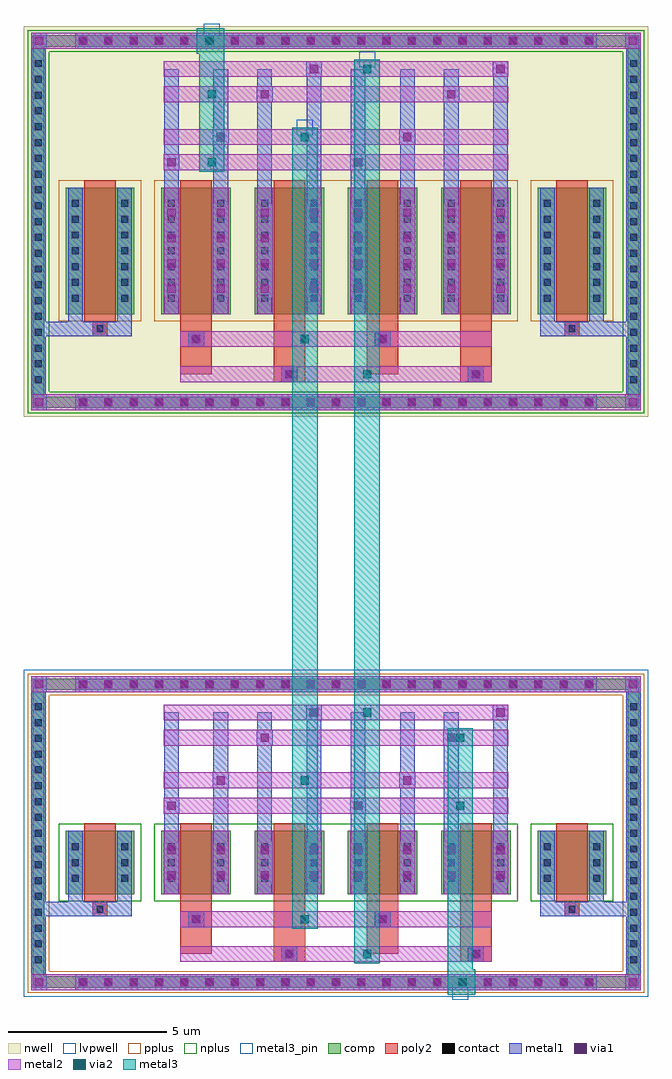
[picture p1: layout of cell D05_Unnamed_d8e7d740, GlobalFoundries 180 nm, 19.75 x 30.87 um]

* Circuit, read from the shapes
.subckt D05_Unnamed_d8e7d740 VSS
XM1 VSS VSS VSS VSS nfet_03v3 w=2u l=1u m=2
XM2 D05_Unnamed_5405d2ab_17/VMID1 D05_Unnamed_5405d2ab_17/VMID1 VSS VSS nfet_03v3 w=2u l=1u m=2
XM3 D05_Unnamed_a4d22786_18/VMID2 D05_Unnamed_a4d22786_18/VMID2 VSS VSS nfet_03v3 w=2u l=1u m=2
XM4 D05_Unnamed_14987a21_16/VRECT D05_Unnamed_14987a21_16/VRECT D05_Unnamed_14987a21_16/VRECT D05_Unnamed_14987a21_16/VRECT pfet_03v3 w=4u l=1u m=2
XM5 D05_Unnamed_5405d2ab_17/VMID1 D05_Unnamed_5405d2ab_17/VMID1 D05_Unnamed_14987a21_16/VRECT D05_Unnamed_14987a21_16/VRECT pfet_03v3 w=4u l=1u m=2
XM6 D05_Unnamed_a4d22786_18/VMID2 D05_Unnamed_a4d22786_18/VMID2 D05_Unnamed_14987a21_16/VRECT D05_Unnamed_14987a21_16/VRECT pfet_03v3 w=4u l=1u m=2
.ends

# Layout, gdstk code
import gdstk
lib = gdstk.Library(unit=1e-6, precision=5e-09)
def R(c, l, rs):  # rectangles x0, y0, x1, y1
    for r in rs: c.add(gdstk.rectangle(r[:2], r[2:], *l))
def A(c, l, x, y, w, h, nx, ny, dx, dy):  # array of equal rectangles
    R(c, l, [(x+i*dx, y+j*dy, x+i*dx+w, y+j*dy+h) for i in range(nx) for j in range(ny)])
def P(c, l, *ps):  # polygons
    for p in ps: c.add(gdstk.Polygon(p, *l))
nwell = (21, 0)
comp = (22, 0)
poly2 = (30, 0)
pplus = (31, 0)
nplus = (32, 0)
contact = (33, 0)
metal1 = (34, 0)
via1 = (35, 0)
metal2 = (36, 0)
via2 = (38, 0)
metal3 = (42, 0)
metal3_pin = (42, 10)
lvpwell = (204, 0)

d05_unnamed_223b26ec_1 = lib.new_cell('D05_Unnamed_223b26ec_1')
R(d05_unnamed_223b26ec_1, nwell, [(-9.715,-6.015,9.715,6.015)])
A(d05_unnamed_223b26ec_1, comp, -8.18, -5.895, 0.36, 0.36, 21, 2, 0.8, 11.43)
A(d05_unnamed_223b26ec_1, comp, -9.595, -5.18, 0.36, 0.36, 1, 21, 0, 0.5)
A(d05_unnamed_223b26ec_1, comp, 9.235, -5.18, 0.36, 0.36, 1, 21, 0, 0.5)
R(d05_unnamed_223b26ec_1, comp, [(-8.18,-5.895,8.18,-5.535), (-9.595,-5.18,-9.235,5.18), (9.235,-5.18,9.595,5.18), (-8.18,5.535,8.18,5.895)])
P(d05_unnamed_223b26ec_1, comp, [(-9.595,-5.895),(-9.595,-5.535),(-9.235,-5.535),(9.235,-5.535),(9.235,5.535),(-9.235,5.535),(-9.235,-5.535),(-9.595,-5.535),(-9.595,5.895),(9.595,5.895),(9.595,-5.895)])
P(d05_unnamed_223b26ec_1, nplus, [(-9.755,-6.055),(-9.755,-5.375),(-9.075,-5.375),(9.075,-5.375),(9.075,5.375),(-9.075,5.375),(-9.075,-5.375),(-9.755,-5.375),(-9.755,6.055),(9.755,6.055),(9.755,-6.055)])
A(d05_unnamed_223b26ec_1, contact, -8.11, -5.825, 0.22, 0.22, 21, 2, 0.8, 11.43)
A(d05_unnamed_223b26ec_1, contact, -9.525, -5.11, 0.22, 0.22, 1, 21, 0, 0.5)
A(d05_unnamed_223b26ec_1, contact, 9.305, -5.11, 0.22, 0.22, 1, 21, 0, 0.5)
A(d05_unnamed_223b26ec_1, metal1, -8.25, -5.965, 0.5, 0.5, 21, 2, 0.8, 11.43)
A(d05_unnamed_223b26ec_1, metal1, -9.645, -5.23, 0.46, 0.46, 1, 21, 0, 0.5)
A(d05_unnamed_223b26ec_1, metal1, 9.185, -5.23, 0.46, 0.46, 1, 21, 0, 0.5)
R(d05_unnamed_223b26ec_1, metal1, [(-9.645,-5.965,-9.145,-5.465), (-9.645,-5.965,-9.145,-5.465), (-9.645,-5.965,-9.185,-5.535), (-8.25,-5.965,8.25,-5.465), (9.145,-5.965,9.645,-5.465), (9.145,-5.965,9.645,-5.465), (9.185,-5.965,9.645,-5.535), (-9.645,-5.535,-9.185,5.535), (9.185,-5.535,9.645,5.535), (-9.645,5.465,-9.145,5.965), (-9.645,5.465,-9.145,5.965), (-8.25,5.465,8.25,5.965), (9.145,5.465,9.645,5.965), (9.145,5.465,9.645,5.965), (-9.645,5.535,-9.185,5.965), (9.185,5.535,9.645,5.965)])
A(d05_unnamed_223b26ec_1, via1, -8.13, -5.845, 0.26, 0.26, 21, 2, 0.8, 11.43)
R(d05_unnamed_223b26ec_1, via1, [(-9.525,-5.845,-9.265,-5.585), (9.265,-5.845,9.525,-5.585), (-9.525,5.585,-9.265,5.845), (9.265,5.585,9.525,5.845)])
A(d05_unnamed_223b26ec_1, metal2, -8.25, -5.965, 0.5, 0.5, 21, 2, 0.8, 11.43)
R(d05_unnamed_223b26ec_1, metal2, [(-9.645,-5.965,-9.235,-5.465), (-9.645,-5.965,-9.145,-5.465), (-9.645,-5.965,-9.145,-5.465), (-9.235,-5.965,9.235,-5.465), (9.145,-5.965,9.645,-5.465), (9.145,-5.965,9.645,-5.465), (9.235,-5.965,9.645,-5.465), (-9.645,5.465,-9.235,5.965), (-9.645,5.465,-9.145,5.965), (-9.645,5.465,-9.145,5.965), (-9.235,5.465,9.235,5.965), (9.145,5.465,9.645,5.965), (9.145,5.465,9.645,5.965), (9.235,5.465,9.645,5.965)])

d05_straight_route_3339a = lib.new_cell('D05_straight_route_3339a8e1_1')
R(d05_straight_route_3339a, metal1, [(-9.645,-3.625,-7.695,-3.165)])

d05_straight_route_3d233 = lib.new_cell('D05_straight_route_3d233bda_1')
R(d05_straight_route_3d233, metal1, [(7.695,-3.625,9.645,-3.165)])

d05_transformed_4b4a1f64 = lib.new_cell('D05_transformed_4b4a1f64')
R(d05_transformed_4b4a1f64, nwell, [(-9.875,-6.175,9.875,6.175)])
A(d05_transformed_4b4a1f64, comp, -5.525, -2.925, 2.2, 4, 4, 1, 2.95, 0)
R(d05_transformed_4b4a1f64, comp, [(-8.545,-2.925,-6.385,1.075), (6.385,-2.925,8.545,1.075)])
A(d05_transformed_4b4a1f64, poly2, -4.925, -3.165, 1, 4.48, 4, 1, 2.95, 0)
R(d05_transformed_4b4a1f64, poly2, [(-1.975,-5.075,-0.975,-4.575), (3.925,-5.075,4.925,-4.575), (-1.655,-5.005,-1.295,-4.645), (4.245,-5.005,4.605,-4.645), (-4.925,-4.825,-3.925,-3.165), (0.975,-4.825,1.975,-3.165), (-1.975,-4.575,-0.975,-3.165), (3.925,-4.575,4.925,-3.165), (-4.925,-3.965,-3.925,-3.465), (0.975,-3.965,1.975,-3.465), (-4.605,-3.895,-4.245,-3.535), (1.295,-3.895,1.655,-3.535), (-7.695,-3.625,-7.235,-3.165), (7.235,-3.625,7.695,-3.165), (-7.645,-3.575,-7.285,-3.215), (7.285,-3.575,7.645,-3.215), (-4.925,-3.465,-3.925,-3.165), (0.975,-3.465,1.975,-3.165), (-7.965,-3.165,-6.965,1.315), (6.965,-3.165,7.965,1.315)])
A(d05_transformed_4b4a1f64, pplus, -5.755, -3.155, 2.66, 4.46, 4, 1, 2.95, 0)
R(d05_transformed_4b4a1f64, pplus, [(-8.775,-3.155,-6.155,1.305), (-5.755,-3.155,5.755,1.305), (6.155,-3.155,8.775,1.305)])
A(d05_transformed_4b4a1f64, contact, -8.355, -2.535, 0.22, 0.22, 1, 7, 0, 0.5)
A(d05_transformed_4b4a1f64, contact, -6.795, -2.535, 0.22, 0.22, 1, 7, 0, 0.5)
A(d05_transformed_4b4a1f64, contact, -5.315, -2.535, 0.22, 0.22, 1, 7, 0, 0.5)
A(d05_transformed_4b4a1f64, contact, -3.755, -2.535, 0.22, 0.22, 1, 7, 0, 0.5)
A(d05_transformed_4b4a1f64, contact, -2.365, -2.535, 0.22, 0.22, 1, 7, 0, 0.5)
A(d05_transformed_4b4a1f64, contact, -0.805, -2.535, 0.22, 0.22, 1, 7, 0, 0.5)
A(d05_transformed_4b4a1f64, contact, 0.585, -2.535, 0.22, 0.22, 1, 7, 0, 0.5)
A(d05_transformed_4b4a1f64, contact, 2.145, -2.535, 0.22, 0.22, 1, 7, 0, 0.5)
A(d05_transformed_4b4a1f64, contact, 3.535, -2.535, 0.22, 0.22, 1, 7, 0, 0.5)
A(d05_transformed_4b4a1f64, contact, 5.095, -2.535, 0.22, 0.22, 1, 7, 0, 0.5)
A(d05_transformed_4b4a1f64, contact, 6.575, -2.535, 0.22, 0.22, 1, 7, 0, 0.5)
A(d05_transformed_4b4a1f64, contact, 8.135, -2.535, 0.22, 0.22, 1, 7, 0, 0.5)
R(d05_transformed_4b4a1f64, contact, [(-1.585,-4.935,-1.365,-4.715), (4.315,-4.935,4.535,-4.715), (-4.535,-3.825,-4.315,-3.605), (1.365,-3.825,1.585,-3.605), (-7.575,-3.505,-7.355,-3.285), (7.355,-3.505,7.575,-3.285)])
A(d05_transformed_4b4a1f64, metal1, -8.475, -2.655, 0.46, 0.46, 1, 7, 0, 0.5)
A(d05_transformed_4b4a1f64, metal1, -6.915, -2.655, 0.46, 0.46, 1, 7, 0, 0.5)
A(d05_transformed_4b4a1f64, metal1, -5.435, -2.655, 0.46, 0.46, 1, 7, 0, 0.5)
A(d05_transformed_4b4a1f64, metal1, -3.875, -2.655, 0.46, 0.46, 1, 7, 0, 0.5)
A(d05_transformed_4b4a1f64, metal1, -2.485, -2.655, 0.46, 0.46, 1, 7, 0, 0.5)
A(d05_transformed_4b4a1f64, metal1, -0.925, -2.655, 0.46, 0.46, 1, 7, 0, 0.5)
A(d05_transformed_4b4a1f64, metal1, 0.465, -2.655, 0.46, 0.46, 1, 7, 0, 0.5)
A(d05_transformed_4b4a1f64, metal1, 2.025, -2.655, 0.46, 0.46, 1, 7, 0, 0.5)
A(d05_transformed_4b4a1f64, metal1, 3.415, -2.655, 0.46, 0.46, 1, 7, 0, 0.5)
A(d05_transformed_4b4a1f64, metal1, 4.975, -2.655, 0.46, 0.46, 1, 7, 0, 0.5)
A(d05_transformed_4b4a1f64, metal1, 6.455, -2.655, 0.46, 0.46, 1, 7, 0, 0.5)
A(d05_transformed_4b4a1f64, metal1, 8.015, -2.655, 0.46, 0.46, 1, 7, 0, 0.5)
A(d05_transformed_4b4a1f64, metal1, -5.455, -2.375, 0.5, 0.5, 1, 4, 0, 0.8)
A(d05_transformed_4b4a1f64, metal1, -3.895, -2.375, 0.5, 0.5, 1, 4, 0, 0.8)
A(d05_transformed_4b4a1f64, metal1, -2.505, -2.375, 0.5, 0.5, 1, 4, 0, 0.8)
A(d05_transformed_4b4a1f64, metal1, -0.945, -2.375, 0.5, 0.5, 1, 4, 0, 0.8)
A(d05_transformed_4b4a1f64, metal1, 0.445, -2.375, 0.5, 0.5, 1, 4, 0, 0.8)
A(d05_transformed_4b4a1f64, metal1, 2.005, -2.375, 0.5, 0.5, 1, 4, 0, 0.8)
A(d05_transformed_4b4a1f64, metal1, 3.395, -2.375, 0.5, 0.5, 1, 4, 0, 0.8)
A(d05_transformed_4b4a1f64, metal1, 4.955, -2.375, 0.5, 0.5, 1, 4, 0, 0.8)
R(d05_transformed_4b4a1f64, metal1, [(-1.725,-5.075,-1.225,-4.575), (4.175,-5.075,4.675,-4.575), (-4.675,-3.965,-4.175,-3.465), (1.225,-3.965,1.725,-3.465), (-8.475,-3.625,-7.695,-3.165), (-8.475,-3.625,-8.015,-2.925), (-7.695,-3.625,-7.235,-3.165), (-7.235,-3.625,-6.455,-3.165), (-6.915,-3.625,-6.455,-2.925), (6.455,-3.625,7.235,-3.165), (6.455,-3.625,6.915,-2.925), (7.235,-3.625,7.695,-3.165), (7.695,-3.625,8.475,-3.165), (8.015,-3.625,8.475,-2.925), (-8.475,-2.925,-8.015,1.075), (-6.915,-2.925,-6.455,1.075), (-5.435,-2.925,-4.975,1.075), (-3.875,-2.925,-3.415,1.075), (-2.485,-2.925,-2.025,1.075), (-0.925,-2.925,-0.465,1.075), (0.465,-2.925,0.925,1.075), (2.025,-2.925,2.485,1.075), (3.415,-2.925,3.875,1.075), (4.975,-2.925,5.435,1.075), (6.455,-2.925,6.915,1.075), (8.015,-2.925,8.475,1.075), (-5.455,-2.375,-4.955,0.525), (-3.895,-2.375,-3.395,0.525), (-2.505,-2.375,-2.005,0.525), (-0.945,-2.375,-0.445,0.525), (0.445,-2.375,0.945,0.525), (2.005,-2.375,2.505,0.525), (3.395,-2.375,3.895,0.525), (4.955,-2.375,5.455,0.525), (-5.435,1.075,-4.975,2.125), (-5.435,1.075,-4.975,4.825), (-3.875,1.075,-3.415,2.925), (-3.875,1.075,-3.415,4.825), (-2.485,1.075,-2.025,4.275), (-2.485,1.075,-2.025,4.825), (-0.925,1.075,-0.465,5.075), (-0.925,1.075,-0.465,4.825), (0.465,1.075,0.925,2.125), (0.465,1.075,0.925,4.825), (2.025,1.075,2.485,2.925), (2.025,1.075,2.485,4.825), (3.415,1.075,3.875,4.275), (3.415,1.075,3.875,4.825), (4.975,1.075,5.435,5.075), (4.975,1.075,5.435,4.825), (-5.455,1.625,-4.955,2.125), (0.445,1.625,0.945,2.125), (-3.895,2.425,-3.395,2.925), (2.005,2.425,2.505,2.925), (-2.505,3.775,-2.005,4.275), (3.395,3.775,3.895,4.275), (-0.945,4.575,-0.445,5.075), (4.955,4.575,5.455,5.075)])
A(d05_transformed_4b4a1f64, via1, -5.335, -2.255, 0.26, 0.26, 1, 4, 0, 0.8)
A(d05_transformed_4b4a1f64, via1, -3.775, -2.255, 0.26, 0.26, 1, 4, 0, 0.8)
A(d05_transformed_4b4a1f64, via1, -2.385, -2.255, 0.26, 0.26, 1, 4, 0, 0.8)
A(d05_transformed_4b4a1f64, via1, -0.825, -2.255, 0.26, 0.26, 1, 4, 0, 0.8)
A(d05_transformed_4b4a1f64, via1, 0.565, -2.255, 0.26, 0.26, 1, 4, 0, 0.8)
A(d05_transformed_4b4a1f64, via1, 2.125, -2.255, 0.26, 0.26, 1, 4, 0, 0.8)
A(d05_transformed_4b4a1f64, via1, 3.515, -2.255, 0.26, 0.26, 1, 4, 0, 0.8)
A(d05_transformed_4b4a1f64, via1, 5.075, -2.255, 0.26, 0.26, 1, 4, 0, 0.8)
R(d05_transformed_4b4a1f64, via1, [(-1.605,-4.955,-1.345,-4.695), (4.295,-4.955,4.555,-4.695), (-4.555,-3.845,-4.295,-3.585), (1.345,-3.845,1.605,-3.585), (-5.335,1.745,-5.075,2.005), (0.565,1.745,0.825,2.005), (-3.775,2.545,-3.515,2.805), (2.125,2.545,2.385,2.805), (-2.385,3.895,-2.125,4.155), (3.515,3.895,3.775,4.155), (-0.825,4.695,-0.565,4.955), (5.075,4.695,5.335,4.955)])
A(d05_transformed_4b4a1f64, metal2, -5.455, -2.375, 0.5, 0.5, 1, 4, 0, 0.8)
A(d05_transformed_4b4a1f64, metal2, -3.895, -2.375, 0.5, 0.5, 1, 4, 0, 0.8)
A(d05_transformed_4b4a1f64, metal2, -2.505, -2.375, 0.5, 0.5, 1, 4, 0, 0.8)
A(d05_transformed_4b4a1f64, metal2, -0.945, -2.375, 0.5, 0.5, 1, 4, 0, 0.8)
A(d05_transformed_4b4a1f64, metal2, 0.445, -2.375, 0.5, 0.5, 1, 4, 0, 0.8)
A(d05_transformed_4b4a1f64, metal2, 2.005, -2.375, 0.5, 0.5, 1, 4, 0, 0.8)
A(d05_transformed_4b4a1f64, metal2, 3.395, -2.375, 0.5, 0.5, 1, 4, 0, 0.8)
A(d05_transformed_4b4a1f64, metal2, 4.955, -2.375, 0.5, 0.5, 1, 4, 0, 0.8)
R(d05_transformed_4b4a1f64, metal2, [(-4.925,-5.075,4.925,-4.575), (-1.975,-5.075,-0.975,-4.575), (-1.725,-5.075,-1.225,-4.575), (3.925,-5.075,4.925,-4.575), (4.175,-5.075,4.675,-4.575), (-4.925,-3.965,-3.925,-3.465), (-4.925,-3.965,4.925,-3.465), (-4.675,-3.965,-4.175,-3.465), (0.975,-3.965,1.975,-3.465), (1.225,-3.965,1.725,-3.465), (-5.455,-2.925,-4.955,1.075), (-3.895,-2.925,-3.395,1.075), (-2.505,-2.925,-2.005,1.075), (-0.945,-2.925,-0.445,1.075), (0.445,-2.925,0.945,1.075), (2.005,-2.925,2.505,1.075), (3.395,-2.925,3.895,1.075), (4.955,-2.925,5.455,1.075), (-5.455,1.625,-4.955,2.125), (-5.455,1.625,-3.395,2.125), (-5.455,1.625,5.455,2.125), (0.445,1.625,0.945,2.125), (0.445,1.625,2.505,2.125), (-5.455,2.425,-3.395,2.925), (-5.455,2.425,5.455,2.925), (-3.895,2.425,-3.395,2.925), (0.445,2.425,2.505,2.925), (2.005,2.425,2.505,2.925), (-5.455,3.775,5.455,4.275), (-2.505,3.775,-2.005,4.275), (-2.505,3.775,-0.445,4.275), (3.395,3.775,3.895,4.275), (3.395,3.775,5.455,4.275), (-5.455,4.575,5.455,5.075), (-2.505,4.575,-0.445,5.075), (-0.945,4.575,-0.445,5.075), (3.395,4.575,5.455,5.075), (4.955,4.575,5.455,5.075)])
d05_transformed_4b4a1f64.add(gdstk.Reference(d05_unnamed_223b26ec_1, (0,0)))
d05_transformed_4b4a1f64.add(gdstk.Reference(d05_straight_route_3339a, (0,0)))
d05_transformed_4b4a1f64.add(gdstk.Reference(d05_straight_route_3d233, (0,0)))

d05_unnamed_4aa4a7d7_1 = lib.new_cell('D05_Unnamed_4aa4a7d7_1')
A(d05_unnamed_4aa4a7d7_1, comp, -8.18, -4.89, 0.36, 0.36, 21, 2, 0.8, 9.42)
A(d05_unnamed_4aa4a7d7_1, comp, -9.595, -4.18, 0.36, 0.36, 1, 17, 0, 0.5)
A(d05_unnamed_4aa4a7d7_1, comp, 9.235, -4.18, 0.36, 0.36, 1, 17, 0, 0.5)
R(d05_unnamed_4aa4a7d7_1, comp, [(-8.18,-4.89,8.18,-4.53), (-9.595,-4.18,-9.235,4.18), (9.235,-4.18,9.595,4.18), (-8.18,4.53,8.18,4.89)])
P(d05_unnamed_4aa4a7d7_1, comp, [(-9.595,-4.89),(-9.595,-4.53),(-9.235,-4.53),(9.235,-4.53),(9.235,4.53),(-9.235,4.53),(-9.235,-4.53),(-9.595,-4.53),(-9.595,4.89),(9.595,4.89),(9.595,-4.89)])
P(d05_unnamed_4aa4a7d7_1, pplus, [(-9.755,-5.05),(-9.755,-4.37),(-9.075,-4.37),(9.075,-4.37),(9.075,4.37),(-9.075,4.37),(-9.075,-4.37),(-9.755,-4.37),(-9.755,5.05),(9.755,5.05),(9.755,-5.05)])
A(d05_unnamed_4aa4a7d7_1, contact, -8.11, -4.82, 0.22, 0.22, 21, 2, 0.8, 9.42)
A(d05_unnamed_4aa4a7d7_1, contact, -9.525, -4.11, 0.22, 0.22, 1, 17, 0, 0.5)
A(d05_unnamed_4aa4a7d7_1, contact, 9.305, -4.11, 0.22, 0.22, 1, 17, 0, 0.5)
A(d05_unnamed_4aa4a7d7_1, metal1, -8.25, -4.96, 0.5, 0.5, 21, 2, 0.8, 9.42)
A(d05_unnamed_4aa4a7d7_1, metal1, -9.645, -4.23, 0.46, 0.46, 1, 17, 0, 0.5)
A(d05_unnamed_4aa4a7d7_1, metal1, 9.185, -4.23, 0.46, 0.46, 1, 17, 0, 0.5)
R(d05_unnamed_4aa4a7d7_1, metal1, [(-9.645,-4.96,-9.145,-4.46), (-9.645,-4.96,-9.145,-4.46), (-9.645,-4.96,-9.185,-4.53), (-8.25,-4.96,8.25,-4.46), (9.145,-4.96,9.645,-4.46), (9.145,-4.96,9.645,-4.46), (9.185,-4.96,9.645,-4.53), (-9.645,-4.53,-9.185,4.53), (9.185,-4.53,9.645,4.53), (-9.645,4.46,-9.145,4.96), (-9.645,4.46,-9.145,4.96), (-8.25,4.46,8.25,4.96), (9.145,4.46,9.645,4.96), (9.145,4.46,9.645,4.96), (-9.645,4.53,-9.185,4.96), (9.185,4.53,9.645,4.96)])
A(d05_unnamed_4aa4a7d7_1, via1, -8.13, -4.84, 0.26, 0.26, 21, 2, 0.8, 9.42)
R(d05_unnamed_4aa4a7d7_1, via1, [(-9.525,-4.84,-9.265,-4.58), (9.265,-4.84,9.525,-4.58), (-9.525,4.58,-9.265,4.84), (9.265,4.58,9.525,4.84)])
A(d05_unnamed_4aa4a7d7_1, metal2, -8.25, -4.96, 0.5, 0.5, 21, 2, 0.8, 9.42)
R(d05_unnamed_4aa4a7d7_1, metal2, [(-9.645,-4.96,-9.235,-4.46), (-9.645,-4.96,-9.145,-4.46), (-9.645,-4.96,-9.145,-4.46), (-9.235,-4.96,9.235,-4.46), (9.145,-4.96,9.645,-4.46), (9.145,-4.96,9.645,-4.46), (9.235,-4.96,9.645,-4.46), (-9.645,4.46,-9.235,4.96), (-9.645,4.46,-9.145,4.96), (-9.645,4.46,-9.145,4.96), (-9.235,4.46,9.235,4.96), (9.145,4.46,9.645,4.96), (9.145,4.46,9.645,4.96), (9.235,4.46,9.645,4.96)])

d05_straight_route_d02c1 = lib.new_cell('D05_straight_route_d02c1ab1_1')
R(d05_straight_route_d02c1, metal1, [(-9.645,-2.63,-7.695,-2.17)])

d05_straight_route_6009b = lib.new_cell('D05_straight_route_6009b2ab_1')
R(d05_straight_route_6009b, metal1, [(7.695,-2.63,9.645,-2.17)])

d05_transformed_8d5e507d = lib.new_cell('D05_transformed_8d5e507d')
A(d05_transformed_8d5e507d, comp, -5.525, -1.93, 2.2, 2, 4, 1, 2.95, 0)
R(d05_transformed_8d5e507d, comp, [(-8.545,-1.93,-6.385,0.07), (6.385,-1.93,8.545,0.07)])
A(d05_transformed_8d5e507d, poly2, -4.925, -2.17, 1, 2.48, 4, 1, 2.95, 0)
R(d05_transformed_8d5e507d, poly2, [(-1.975,-4.07,-0.975,-3.57), (3.925,-4.07,4.925,-3.57), (-1.655,-4,-1.295,-3.64), (4.245,-4,4.605,-3.64), (-4.925,-3.82,-3.925,-2.17), (0.975,-3.82,1.975,-2.17), (-1.975,-3.57,-0.975,-2.17), (3.925,-3.57,4.925,-2.17), (-4.925,-2.97,-3.925,-2.47), (0.975,-2.97,1.975,-2.47), (-4.605,-2.9,-4.245,-2.54), (1.295,-2.9,1.655,-2.54), (-7.695,-2.63,-7.235,-2.17), (7.235,-2.63,7.695,-2.17), (-7.645,-2.58,-7.285,-2.22), (7.285,-2.58,7.645,-2.22), (-4.925,-2.47,-3.925,-2.17), (0.975,-2.47,1.975,-2.17), (-7.965,-2.17,-6.965,0.31), (6.965,-2.17,7.965,0.31)])
A(d05_transformed_8d5e507d, nplus, -5.755, -2.16, 2.66, 2.46, 4, 1, 2.95, 0)
R(d05_transformed_8d5e507d, nplus, [(-8.775,-2.16,-6.155,0.3), (-5.755,-2.16,5.755,0.3), (6.155,-2.16,8.775,0.3)])
A(d05_transformed_8d5e507d, contact, -8.355, -1.54, 0.22, 0.22, 1, 3, 0, 0.5)
A(d05_transformed_8d5e507d, contact, -6.795, -1.54, 0.22, 0.22, 1, 3, 0, 0.5)
A(d05_transformed_8d5e507d, contact, -5.315, -1.54, 0.22, 0.22, 1, 3, 0, 0.5)
A(d05_transformed_8d5e507d, contact, -3.755, -1.54, 0.22, 0.22, 1, 3, 0, 0.5)
A(d05_transformed_8d5e507d, contact, -2.365, -1.54, 0.22, 0.22, 1, 3, 0, 0.5)
A(d05_transformed_8d5e507d, contact, -0.805, -1.54, 0.22, 0.22, 1, 3, 0, 0.5)
A(d05_transformed_8d5e507d, contact, 0.585, -1.54, 0.22, 0.22, 1, 3, 0, 0.5)
A(d05_transformed_8d5e507d, contact, 2.145, -1.54, 0.22, 0.22, 1, 3, 0, 0.5)
A(d05_transformed_8d5e507d, contact, 3.535, -1.54, 0.22, 0.22, 1, 3, 0, 0.5)
A(d05_transformed_8d5e507d, contact, 5.095, -1.54, 0.22, 0.22, 1, 3, 0, 0.5)
A(d05_transformed_8d5e507d, contact, 6.575, -1.54, 0.22, 0.22, 1, 3, 0, 0.5)
A(d05_transformed_8d5e507d, contact, 8.135, -1.54, 0.22, 0.22, 1, 3, 0, 0.5)
R(d05_transformed_8d5e507d, contact, [(-1.585,-3.93,-1.365,-3.71), (4.315,-3.93,4.535,-3.71), (-4.535,-2.83,-4.315,-2.61), (1.365,-2.83,1.585,-2.61), (-7.575,-2.51,-7.355,-2.29), (7.355,-2.51,7.575,-2.29)])
A(d05_transformed_8d5e507d, metal1, -8.475, -1.66, 0.46, 0.46, 1, 3, 0, 0.5)
A(d05_transformed_8d5e507d, metal1, -6.915, -1.66, 0.46, 0.46, 1, 3, 0, 0.5)
A(d05_transformed_8d5e507d, metal1, -5.435, -1.66, 0.46, 0.46, 1, 3, 0, 0.5)
A(d05_transformed_8d5e507d, metal1, -3.875, -1.66, 0.46, 0.46, 1, 3, 0, 0.5)
A(d05_transformed_8d5e507d, metal1, -2.485, -1.66, 0.46, 0.46, 1, 3, 0, 0.5)
A(d05_transformed_8d5e507d, metal1, -0.925, -1.66, 0.46, 0.46, 1, 3, 0, 0.5)
A(d05_transformed_8d5e507d, metal1, 0.465, -1.66, 0.46, 0.46, 1, 3, 0, 0.5)
A(d05_transformed_8d5e507d, metal1, 2.025, -1.66, 0.46, 0.46, 1, 3, 0, 0.5)
A(d05_transformed_8d5e507d, metal1, 3.415, -1.66, 0.46, 0.46, 1, 3, 0, 0.5)
A(d05_transformed_8d5e507d, metal1, 4.975, -1.66, 0.46, 0.46, 1, 3, 0, 0.5)
A(d05_transformed_8d5e507d, metal1, 6.455, -1.66, 0.46, 0.46, 1, 3, 0, 0.5)
A(d05_transformed_8d5e507d, metal1, 8.015, -1.66, 0.46, 0.46, 1, 3, 0, 0.5)
R(d05_transformed_8d5e507d, metal1, [(-1.725,-4.07,-1.225,-3.57), (4.175,-4.07,4.675,-3.57), (-4.675,-2.97,-4.175,-2.47), (1.225,-2.97,1.725,-2.47), (-8.475,-2.63,-7.695,-2.17), (-8.475,-2.63,-8.015,-1.93), (-7.695,-2.63,-7.235,-2.17), (-7.235,-2.63,-6.455,-2.17), (-6.915,-2.63,-6.455,-1.93), (6.455,-2.63,7.235,-2.17), (6.455,-2.63,6.915,-1.93), (7.235,-2.63,7.695,-2.17), (7.695,-2.63,8.475,-2.17), (8.015,-2.63,8.475,-1.93), (-8.475,-1.93,-8.015,0.07), (-6.915,-1.93,-6.455,0.07), (-5.435,-1.93,-4.975,0.07), (-3.875,-1.93,-3.415,0.07), (-2.485,-1.93,-2.025,0.07), (-0.925,-1.93,-0.465,0.07), (0.465,-1.93,0.925,0.07), (2.025,-1.93,2.485,0.07), (3.415,-1.93,3.875,0.07), (4.975,-1.93,5.435,0.07), (6.455,-1.93,6.915,0.07), (8.015,-1.93,8.475,0.07), (-5.455,-1.58,-4.955,-1.08), (-5.455,-1.58,-4.955,-0.28), (-3.895,-1.58,-3.395,-1.08), (-3.895,-1.58,-3.395,-0.28), (-2.505,-1.58,-2.005,-1.08), (-2.505,-1.58,-2.005,-0.28), (-0.945,-1.58,-0.445,-1.08), (-0.945,-1.58,-0.445,-0.28), (0.445,-1.58,0.945,-1.08), (0.445,-1.58,0.945,-0.28), (2.005,-1.58,2.505,-1.08), (2.005,-1.58,2.505,-0.28), (3.395,-1.58,3.895,-1.08), (3.395,-1.58,3.895,-0.28), (4.955,-1.58,5.455,-1.08), (4.955,-1.58,5.455,-0.28), (-5.455,-0.78,-4.955,-0.28), (-3.895,-0.78,-3.395,-0.28), (-2.505,-0.78,-2.005,-0.28), (-0.945,-0.78,-0.445,-0.28), (0.445,-0.78,0.945,-0.28), (2.005,-0.78,2.505,-0.28), (3.395,-0.78,3.895,-0.28), (4.955,-0.78,5.455,-0.28), (-5.435,0.07,-4.975,1.12), (-5.435,0.07,-4.975,3.82), (-3.875,0.07,-3.415,1.92), (-3.875,0.07,-3.415,3.82), (-2.485,0.07,-2.025,3.27), (-2.485,0.07,-2.025,3.82), (-0.925,0.07,-0.465,4.07), (-0.925,0.07,-0.465,3.82), (0.465,0.07,0.925,1.12), (0.465,0.07,0.925,3.82), (2.025,0.07,2.485,1.92), (2.025,0.07,2.485,3.82), (3.415,0.07,3.875,3.27), (3.415,0.07,3.875,3.82), (4.975,0.07,5.435,4.07), (4.975,0.07,5.435,3.82), (-5.455,0.62,-4.955,1.12), (0.445,0.62,0.945,1.12), (-3.895,1.42,-3.395,1.92), (2.005,1.42,2.505,1.92), (-2.505,2.77,-2.005,3.27), (3.395,2.77,3.895,3.27), (-0.945,3.57,-0.445,4.07), (4.955,3.57,5.455,4.07)])
R(d05_transformed_8d5e507d, via1, [(-1.605,-3.95,-1.345,-3.69), (4.295,-3.95,4.555,-3.69), (-4.555,-2.85,-4.295,-2.59), (1.345,-2.85,1.605,-2.59), (-5.335,-1.46,-5.075,-1.2), (-3.775,-1.46,-3.515,-1.2), (-2.385,-1.46,-2.125,-1.2), (-0.825,-1.46,-0.565,-1.2), (0.565,-1.46,0.825,-1.2), (2.125,-1.46,2.385,-1.2), (3.515,-1.46,3.775,-1.2), (5.075,-1.46,5.335,-1.2), (-5.335,-0.66,-5.075,-0.4), (-3.775,-0.66,-3.515,-0.4), (-2.385,-0.66,-2.125,-0.4), (-0.825,-0.66,-0.565,-0.4), (0.565,-0.66,0.825,-0.4), (2.125,-0.66,2.385,-0.4), (3.515,-0.66,3.775,-0.4), (5.075,-0.66,5.335,-0.4), (-5.335,0.74,-5.075,1), (0.565,0.74,0.825,1), (-3.775,1.54,-3.515,1.8), (2.125,1.54,2.385,1.8), (-2.385,2.89,-2.125,3.15), (3.515,2.89,3.775,3.15), (-0.825,3.69,-0.565,3.95), (5.075,3.69,5.335,3.95)])
R(d05_transformed_8d5e507d, metal2, [(-4.925,-4.07,4.925,-3.57), (-1.975,-4.07,-0.975,-3.57), (-1.725,-4.07,-1.225,-3.57), (3.925,-4.07,4.925,-3.57), (4.175,-4.07,4.675,-3.57), (-4.925,-2.97,-3.925,-2.47), (-4.925,-2.97,4.925,-2.47), (-4.675,-2.97,-4.175,-2.47), (0.975,-2.97,1.975,-2.47), (1.225,-2.97,1.725,-2.47), (-5.455,-1.93,-4.955,0.07), (-3.895,-1.93,-3.395,0.07), (-2.505,-1.93,-2.005,0.07), (-0.945,-1.93,-0.445,0.07), (0.445,-1.93,0.945,0.07), (2.005,-1.93,2.505,0.07), (3.395,-1.93,3.895,0.07), (4.955,-1.93,5.455,0.07), (-5.455,-1.58,-4.955,-1.08), (-3.895,-1.58,-3.395,-1.08), (-2.505,-1.58,-2.005,-1.08), (-0.945,-1.58,-0.445,-1.08), (0.445,-1.58,0.945,-1.08), (2.005,-1.58,2.505,-1.08), (3.395,-1.58,3.895,-1.08), (4.955,-1.58,5.455,-1.08), (-5.455,-0.78,-4.955,-0.28), (-3.895,-0.78,-3.395,-0.28), (-2.505,-0.78,-2.005,-0.28), (-0.945,-0.78,-0.445,-0.28), (0.445,-0.78,0.945,-0.28), (2.005,-0.78,2.505,-0.28), (3.395,-0.78,3.895,-0.28), (4.955,-0.78,5.455,-0.28), (-5.455,0.62,-4.955,1.12), (-5.455,0.62,-3.395,1.12), (-5.455,0.62,5.455,1.12), (0.445,0.62,0.945,1.12), (0.445,0.62,2.505,1.12), (-5.455,1.42,-3.395,1.92), (-5.455,1.42,5.455,1.92), (-3.895,1.42,-3.395,1.92), (0.445,1.42,2.505,1.92), (2.005,1.42,2.505,1.92), (-5.455,2.77,5.455,3.27), (-2.505,2.77,-2.005,3.27), (-2.505,2.77,-0.445,3.27), (3.395,2.77,3.895,3.27), (3.395,2.77,5.455,3.27), (-5.455,3.57,5.455,4.07), (-2.505,3.57,-0.445,4.07), (-0.945,3.57,-0.445,4.07), (3.395,3.57,5.455,4.07), (4.955,3.57,5.455,4.07)])
R(d05_transformed_8d5e507d, lvpwell, [(-9.875,-5.17,9.875,5.17)])
d05_transformed_8d5e507d.add(gdstk.Reference(d05_unnamed_4aa4a7d7_1, (0,0)))
d05_transformed_8d5e507d.add(gdstk.Reference(d05_straight_route_d02c1, (0,0)))
d05_transformed_8d5e507d.add(gdstk.Reference(d05_straight_route_6009b, (0,0)))

d05_via_stack_c2d496bb_5 = lib.new_cell('D05_via_stack_c2d496bb_50')
R(d05_via_stack_c2d496bb_5, metal2, [(-0.25,-0.25,0.25,0.25)])
R(d05_via_stack_c2d496bb_5, via2, [(-0.13,-0.13,0.13,0.13)])
R(d05_via_stack_c2d496bb_5, metal3, [(-0.25,-0.25,0.25,0.25)])

c_d05_via_stack_c2d496bb_5 = lib.new_cell('D05_via_stack_c2d496bb_51')
R(c_d05_via_stack_c2d496bb_5, metal2, [(-0.25,-0.25,0.25,0.25)])
R(c_d05_via_stack_c2d496bb_5, via2, [(-0.13,-0.13,0.13,0.13)])
R(c_d05_via_stack_c2d496bb_5, metal3, [(-0.25,-0.25,0.25,0.25)])

c_d05_via_stack_c2d496bb_5_ = lib.new_cell('D05_via_stack_c2d496bb_52')
R(c_d05_via_stack_c2d496bb_5_, metal2, [(-0.25,-0.25,0.25,0.25)])
R(c_d05_via_stack_c2d496bb_5_, via2, [(-0.13,-0.13,0.13,0.13)])
R(c_d05_via_stack_c2d496bb_5_, metal3, [(-0.25,-0.25,0.25,0.25)])

c_d05_via_stack_c2d496bb_5__ = lib.new_cell('D05_via_stack_c2d496bb_53')
R(c_d05_via_stack_c2d496bb_5__, metal2, [(-0.25,-0.25,0.25,0.25)])
R(c_d05_via_stack_c2d496bb_5__, via2, [(-0.13,-0.13,0.13,0.13)])
R(c_d05_via_stack_c2d496bb_5__, metal3, [(-0.25,-0.25,0.25,0.25)])

c_d05_via_stack_c2d496bb_5___ = lib.new_cell('D05_via_stack_c2d496bb_54')
R(c_d05_via_stack_c2d496bb_5___, metal2, [(-0.25,-0.25,0.25,0.25)])
R(c_d05_via_stack_c2d496bb_5___, via2, [(-0.13,-0.13,0.13,0.13)])
R(c_d05_via_stack_c2d496bb_5___, metal3, [(-0.25,-0.25,0.25,0.25)])

c_d05_via_stack_c2d496bb_5____ = lib.new_cell('D05_via_stack_c2d496bb_55')
R(c_d05_via_stack_c2d496bb_5____, metal2, [(-0.25,-0.25,0.25,0.25)])
R(c_d05_via_stack_c2d496bb_5____, via2, [(-0.13,-0.13,0.13,0.13)])
R(c_d05_via_stack_c2d496bb_5____, metal3, [(-0.25,-0.25,0.25,0.25)])

c_d05_via_stack_c2d496bb_5_____ = lib.new_cell('D05_via_stack_c2d496bb_56')
R(c_d05_via_stack_c2d496bb_5_____, metal2, [(-0.25,-0.25,0.25,0.25)])
R(c_d05_via_stack_c2d496bb_5_____, via2, [(-0.13,-0.13,0.13,0.13)])
R(c_d05_via_stack_c2d496bb_5_____, metal3, [(-0.25,-0.25,0.25,0.25)])

c_d05_via_stack_c2d496bb_5______ = lib.new_cell('D05_via_stack_c2d496bb_57')
R(c_d05_via_stack_c2d496bb_5______, metal2, [(-0.25,-0.25,0.25,0.25)])
R(c_d05_via_stack_c2d496bb_5______, via2, [(-0.13,-0.13,0.13,0.13)])
R(c_d05_via_stack_c2d496bb_5______, metal3, [(-0.25,-0.25,0.25,0.25)])

c_d05_via_stack_c2d496bb_5_______ = lib.new_cell('D05_via_stack_c2d496bb_58')
R(c_d05_via_stack_c2d496bb_5_______, metal2, [(-0.25,-0.25,0.25,0.25)])
R(c_d05_via_stack_c2d496bb_5_______, via2, [(-0.13,-0.13,0.13,0.13)])
R(c_d05_via_stack_c2d496bb_5_______, metal3, [(-0.25,-0.25,0.25,0.25)])

c_d05_via_stack_c2d496bb_5________ = lib.new_cell('D05_via_stack_c2d496bb_59')
R(c_d05_via_stack_c2d496bb_5________, metal2, [(-0.25,-0.25,0.25,0.25)])
R(c_d05_via_stack_c2d496bb_5________, via2, [(-0.13,-0.13,0.13,0.13)])
R(c_d05_via_stack_c2d496bb_5________, metal3, [(-0.25,-0.25,0.25,0.25)])

d05_via_stack_c2d496bb_6 = lib.new_cell('D05_via_stack_c2d496bb_60')
R(d05_via_stack_c2d496bb_6, metal2, [(-0.25,-0.25,0.25,0.25)])
R(d05_via_stack_c2d496bb_6, via2, [(-0.13,-0.13,0.13,0.13)])
R(d05_via_stack_c2d496bb_6, metal3, [(-0.25,-0.25,0.25,0.25)])

c_d05_via_stack_c2d496bb_6 = lib.new_cell('D05_via_stack_c2d496bb_61')
R(c_d05_via_stack_c2d496bb_6, metal2, [(-0.25,-0.25,0.25,0.25)])
R(c_d05_via_stack_c2d496bb_6, via2, [(-0.13,-0.13,0.13,0.13)])
R(c_d05_via_stack_c2d496bb_6, metal3, [(-0.25,-0.25,0.25,0.25)])

c_d05_via_stack_c2d496bb_6_ = lib.new_cell('D05_via_stack_c2d496bb_62')
R(c_d05_via_stack_c2d496bb_6_, metal2, [(-0.25,-0.25,0.25,0.25)])
R(c_d05_via_stack_c2d496bb_6_, via2, [(-0.13,-0.13,0.13,0.13)])
R(c_d05_via_stack_c2d496bb_6_, metal3, [(-0.25,-0.25,0.25,0.25)])

c_d05_via_stack_c2d496bb_6__ = lib.new_cell('D05_via_stack_c2d496bb_63')
R(c_d05_via_stack_c2d496bb_6__, metal2, [(-0.25,-0.25,0.25,0.25)])
R(c_d05_via_stack_c2d496bb_6__, via2, [(-0.13,-0.13,0.13,0.13)])
R(c_d05_via_stack_c2d496bb_6__, metal3, [(-0.25,-0.25,0.25,0.25)])

d05_compass_65197a3d_12 = lib.new_cell('D05_compass_65197a3d_12')
R(d05_compass_65197a3d_12, metal3_pin, [(-0.25,-0.25,0.25,0.25)])

d05_unnamed_14987a21 = lib.new_cell('D05_Unnamed_14987a21')
d05_unnamed_14987a21.add(gdstk.Reference(d05_compass_65197a3d_12, (0,0)))
d05_unnamed_14987a21.add(gdstk.Label('VRECT', (0,0), layer=42, texttype=10))

d05_compass_65197a3d_13 = lib.new_cell('D05_compass_65197a3d_13')
R(d05_compass_65197a3d_13, metal3_pin, [(-0.25,-0.25,0.25,0.25)])

d05_unnamed_5405d2ab = lib.new_cell('D05_Unnamed_5405d2ab')
d05_unnamed_5405d2ab.add(gdstk.Reference(d05_compass_65197a3d_13, (0,0)))
d05_unnamed_5405d2ab.add(gdstk.Label('VMID1', (0,0), layer=42, texttype=10))

d05_compass_65197a3d_14 = lib.new_cell('D05_compass_65197a3d_14')
R(d05_compass_65197a3d_14, metal3_pin, [(-0.25,-0.25,0.25,0.25)])

d05_unnamed_a4d22786 = lib.new_cell('D05_Unnamed_a4d22786')
d05_unnamed_a4d22786.add(gdstk.Reference(d05_compass_65197a3d_14, (0,0)))
d05_unnamed_a4d22786.add(gdstk.Label('VMID2', (0,0), layer=42, texttype=10))

d05_compass_65197a3d_15 = lib.new_cell('D05_compass_65197a3d_15')
R(d05_compass_65197a3d_15, metal3_pin, [(-0.25,-0.25,0.25,0.25)])

d05_unnamed_bdf16565 = lib.new_cell('D05_Unnamed_bdf16565')
d05_unnamed_bdf16565.add(gdstk.Reference(d05_compass_65197a3d_15, (0,0)))
d05_unnamed_bdf16565.add(gdstk.Label('VSS', (0,0), layer=42, texttype=10))

d05_unnamed_d8e7d740 = lib.new_cell('D05_Unnamed_d8e7d740')
R(d05_unnamed_d8e7d740, metal3, [(3.53,-5.11,4.4,-4.31), (3.53,-5.01,4.33,3.32), (0.585,-4.12,1.385,24.47), (-1.385,-3.02,-0.585,22.32), (-4.33,20.92,-3.53,25.36), (-4.4,24.66,-3.53,25.46)])
d05_unnamed_d8e7d740.add(gdstk.Reference(d05_transformed_4b4a1f64, (0,19.345)))
d05_unnamed_d8e7d740.add(gdstk.Reference(d05_transformed_8d5e507d, (0,0)))
d05_unnamed_d8e7d740.add(gdstk.Reference(d05_via_stack_c2d496bb_5, (-3.93,21.22)))
d05_unnamed_d8e7d740.add(gdstk.Reference(c_d05_via_stack_c2d496bb_5, (-3.93,23.37)))
d05_unnamed_d8e7d740.add(gdstk.Reference(c_d05_via_stack_c2d496bb_5_, (-4,25.06)))
d05_unnamed_d8e7d740.add(gdstk.Reference(c_d05_via_stack_c2d496bb_5__, (-0.985,22.02)))
d05_unnamed_d8e7d740.add(gdstk.Reference(c_d05_via_stack_c2d496bb_5___, (-0.985,15.63)))
d05_unnamed_d8e7d740.add(gdstk.Reference(c_d05_via_stack_c2d496bb_5____, (-0.985,1.67)))
d05_unnamed_d8e7d740.add(gdstk.Reference(c_d05_via_stack_c2d496bb_5_____, (-0.985,-2.72)))
d05_unnamed_d8e7d740.add(gdstk.Reference(c_d05_via_stack_c2d496bb_5______, (0.985,24.17)))
d05_unnamed_d8e7d740.add(gdstk.Reference(c_d05_via_stack_c2d496bb_5_______, (0.985,14.52)))
d05_unnamed_d8e7d740.add(gdstk.Reference(c_d05_via_stack_c2d496bb_5________, (0.985,3.82)))
d05_unnamed_d8e7d740.add(gdstk.Reference(d05_via_stack_c2d496bb_6, (0.985,-3.82)))
d05_unnamed_d8e7d740.add(gdstk.Reference(c_d05_via_stack_c2d496bb_6, (3.93,0.87)))
d05_unnamed_d8e7d740.add(gdstk.Reference(c_d05_via_stack_c2d496bb_6_, (3.93,3.02)))
d05_unnamed_d8e7d740.add(gdstk.Reference(c_d05_via_stack_c2d496bb_6__, (4,-4.71)))
d05_unnamed_d8e7d740.add(gdstk.Reference(d05_unnamed_14987a21, (-3.93,25.36)))
d05_unnamed_d8e7d740.add(gdstk.Reference(d05_unnamed_5405d2ab, (-0.985,22.32)))
d05_unnamed_d8e7d740.add(gdstk.Reference(d05_unnamed_a4d22786, (0.985,24.47)))
d05_unnamed_d8e7d740.add(gdstk.Reference(d05_unnamed_bdf16565, (3.93,-5.01)))

lib.write_gds('D05_Unnamed_d8e7d740.gds')
